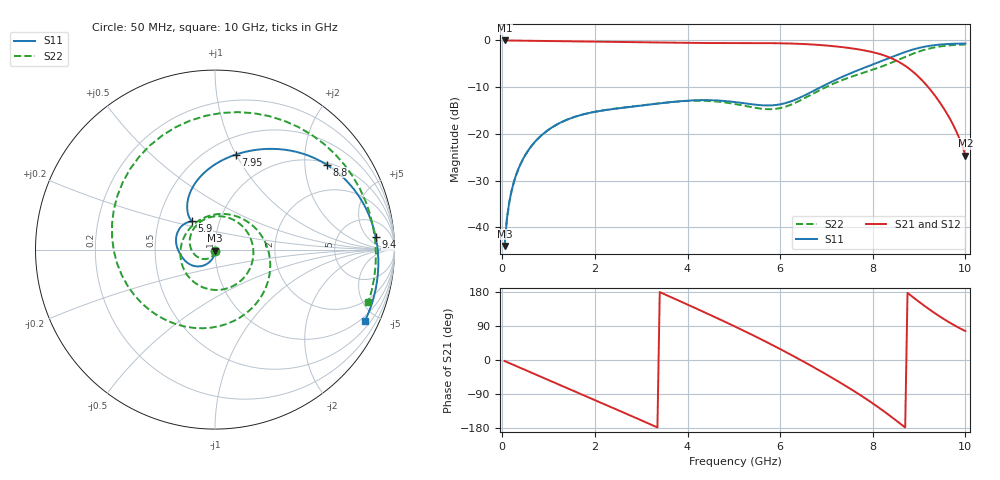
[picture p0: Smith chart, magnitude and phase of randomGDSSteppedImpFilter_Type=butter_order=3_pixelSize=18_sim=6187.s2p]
! freq	dB(S11)	phase(S11)	dB(S12)	phase(S12)
!  dB(S21)	phase(S21)	dB(S22)	phase(S22)
!S-par simulation data
#  GHz  S  DB  R 50
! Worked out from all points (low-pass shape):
!   200 points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, 50 MHz to 10 GHz, reference 50 ohm
!   highest |S21| = 0.00 dB at 50 MHz (marker M1); lowest = -24.6 dB at 10 GHz (marker M2)
!   |S21| within 3 dB of the highest: start of sweep to 8.181 GHz
!   lowest |S11| = -44.0 dB at 50 MHz (marker M3), VSWR 1.01, Z = 50 - j0.632 ohm
!   |S11| at or under -10 dB: start of sweep to 6.875 GHz
!   |S22| runs from -44.0 to -0.9 dB; largest |S21 - S12| = 0
!   S11 on the Smith chart (normalised r, x): 50 MHz: 1.00, -0.01; 5.9 GHz: 0.74, +0.24; 7.95 GHz: 0.66, +1.00; 8.8 GHz: 1.06, +2.58; 9.4 GHz: 12, +9; 10 GHz: 0.78, -4.32
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0.05  -43.99 -89.4  -0.00 -2.7  -0.00 -2.7  -44.02 -91.3
0.1  -38.12 -92.2  -0.01 -5.4  -0.01 -5.4  -38.15 -95.6
0.2  -32.19 -96.9  -0.02 -10.7  -0.02 -10.7  -32.23 -103.5
0.5  -24.46 -108.6  -0.05 -26.6  -0.05 -26.6  -24.50 -125.3
1.15  -18.14 -131.4  -0.14 -60.9  -0.14 -60.9  -18.16 -172.1
1.75  -15.82 -149.2  -0.22 -92.5  -0.22 -92.5  -15.81 142.4
2.65  -14.36 -169.5  -0.33 -140.3  -0.33 -140.3  -14.32 67.5
3.4  -13.46 176.0  -0.43 179.2  -0.43 179.2  -13.44 1.8
4.35  -12.77 153.6  -0.55 126.8  -0.55 126.8  -12.91 -79.2
5.05  -13.21 136.9  -0.57 86.8  -0.57 86.8  -13.65 -142.1
5.9  -13.83 129.3  -0.60 35.2  -0.60 35.2  -14.64 119.5
6.3  -12.78 128.6  -0.68 9.4  -0.68 9.4  -13.47 66.8
6.7  -10.89 122.9  -0.87 -17.4  -0.87 -17.4  -11.45 18.5
7.35  -7.75 102.2  -1.44 -63.6  -1.44 -63.6  -8.45 -52.8
7.95  -5.33 77.7  -2.40 -110.3  -2.40 -110.3  -6.42 -123.9
8.35  -3.77 60.0  -3.59 -145.2  -3.59 -145.2  -4.98 -179.3
8.55  -3.00 50.4  -4.52 -163.9  -4.52 -163.9  -4.14 151.3
8.8  -2.14 37.3  -6.15 172.3  -6.15 172.3  -3.09 114.9
9.1  -1.37 20.8  -8.90 144.3  -8.90 144.3  -2.05 74.3
9.4  -0.93 4.4  -12.58 118.6  -12.58 118.6  -1.37 38.7
9.7  -0.73 -11.0  -17.39 95.9  -17.39 95.9  -1.01 8.1
10  -0.67 -25.3  -24.63 76.4  -24.63 76.4  -0.88 -19.0
